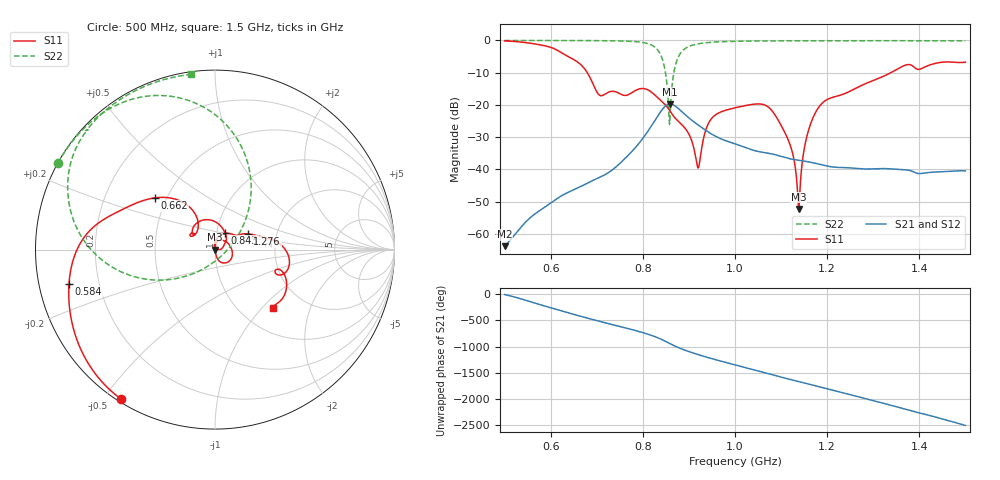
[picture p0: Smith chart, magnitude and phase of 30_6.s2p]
! TOUCHSTONE file generated by CST MICROWAVE STUDIO
! Date and time: Sat Oct 24 11:48:21 2020
! Project name: Scenario_1_Circular_Tissue_out_of_Line.cst
! Parameters = {dy1=156.889; L_HA=400; MT=2.54; Rad_Dielectric=30; Rad_Lower=7.3; Rad_Upper=30; a_HA=580; a_WG=246; b_HA=500; b_WG=121; c_HA=0; c_WG=187; d_feed=85; dx1=1039; h_feed=15; h_lower=18; h_upper=40}
! Header version: 2018
! Port assignment regex: !\s*Touchstone port\s*([0-9]+)\s*=\s*(CST MWS port|CST DS port)\s*([0-9]+|Zmin|Zmax)\s*\(\"(.*)\"\)(\s*mode\s*([0-9]+))?.*
! Touchstone port assignment:
! Touchstone port 1 = CST MWS port 1 ("")
! Touchstone port 2 = CST MWS port 2 ("")
# GHz S DB R 50
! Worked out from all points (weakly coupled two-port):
!   1001 points, 500 MHz to 1.5 GHz, reference 50 ohm
!   highest |S21| = -19.73 dB at 859 MHz (marker M1); lowest = -63.8 dB at 500 MHz (marker M2)
!   lowest |S11| = -52.3 dB at 1.138 GHz (marker M3), VSWR 1.00, Z = 49.8 - j0.0914 ohm
!   |S11| at or under -10 dB: 679.5 MHz to 1.338 GHz (658.7 MHz wide, 65.3 % of centre)
!   |S22| runs from -26.0 to 0.0 dB; largest |S21 - S12| = 0.00011
!   S11 on the Smith chart (normalised r, x): 500 MHz: 0.01, -0.55; 584 MHz: 0.09, -0.11; 662 MHz: 0.43, +0.31; 843 MHz: 1.10, +0.21; 1.276 GHz: 1.42, +0.26; 1.5 GHz: 1.40, -1.16
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0.5  -0.15 -122.3  -63.82 -4.9  -63.82 -4.9  -0.01 151.1
0.584  -1.56 -166.9  -52.01 143.5  -52.01 143.5  -0.02 145.3
0.662  -7.10 139.2  -45.54 -53.8  -45.54 -53.8  -0.04 138.8
0.667  -7.74 134.8  -45.18 -65.7  -45.18 -65.7  -0.04 138.3
0.707  -17.07 137.1  -42.45 -159.7  -42.45 -159.7  -0.07 134.0
0.788  -15.26 134.8  -32.54 17.9  -32.54 17.9  -0.43 117.7
0.834  -17.98 70.9  -23.06 -116.3  -23.06 -116.3  -3.31 83.5
0.843  -19.18 59.9  -21.26 -151.7  -21.26 -151.7  -6.11 67.6
0.859  -21.91 39.1  -19.73 137.0  -19.73 137.0  -23.94 -88.3
0.877  -25.08 26.3  -21.12 61.8  -21.12 61.8  -5.15 -167.9
0.92  -39.59 41.5  -26.24 -72.1  -26.24 -72.1  -1.05 157.8
0.946  -24.83 62.0  -28.76 -140.4  -28.75 -140.4  -0.60 149.9
1  -20.90 6.4  -32.07 90.5  -32.07 90.5  -0.27 140.2
1.082  -22.12 -64.6  -35.26 -99.6  -35.27 -99.6  -0.14 131.3
1.12  -32.56 -80.5  -36.73 172.7  -36.73 172.7  -0.11 128.0
1.138  -52.30 -157.8  -37.17 132.3  -37.17 132.2  -0.11 126.5
1.152  -32.30 99.1  -37.47 100.4  -37.48 100.2  -0.10 125.3
1.167  -24.75 82.7  -37.88 65.8  -37.89 65.7  -0.10 124.1
1.196  -18.68 51.3  -38.87 1.2  -38.86 1.2  -0.09 121.9
1.276  -13.87 25.6  -39.86 -176.1  -39.86 -176.1  -0.08 115.8
1.334  -10.32 11.8  -39.81 49.5  -39.81 49.4  -0.09 111.4
1.5  -6.75 -45.0  -40.48 14.1  -40.39 14.3  -0.13 97.8
